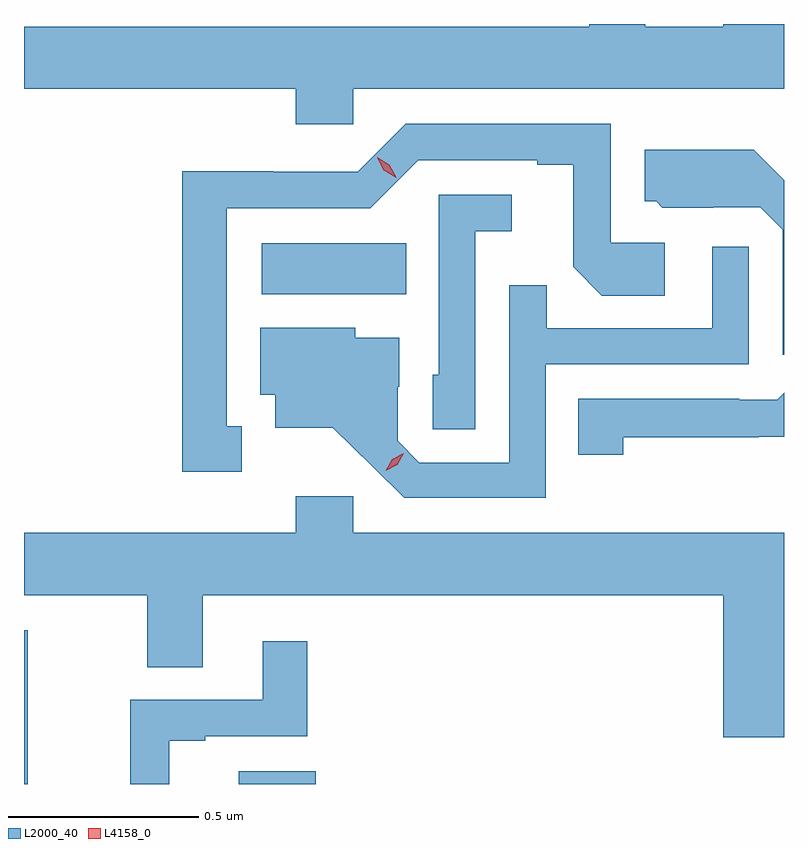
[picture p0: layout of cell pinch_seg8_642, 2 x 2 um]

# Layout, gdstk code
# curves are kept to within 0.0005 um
import gdstk
lib = gdstk.Library(unit=1e-6, precision=1e-09)
def R(c, l, rs):  # rectangles x0, y0, x1, y1
    for r in rs: c.add(gdstk.rectangle(r[:2], r[2:], *l))
def P(c, l, *ps):  # polygons
    for p in ps: c.add(gdstk.Polygon(p, *l))
L2000_40 = (2000, 40)
L4158_0 = (4158, 0)

pinch_seg8_642 = lib.new_cell('pinch_seg8_642')
R(pinch_seg8_642, L2000_40, [(199.132,1097.355,199.142,1097.76), (199.697,1097.355,199.9,1097.389), (199.758,1098.644,200.138,1098.778)])
P(pinch_seg8_642, L2000_40, [(199.998,1099.184),(201.132,1099.184),(201.132,1099.355),(200.972,1099.355),(200.972,1099.348),(200.767,1099.348),(200.767,1099.355),(200.62,1099.355),(200.62,1099.348),(199.132,1099.348),(199.132,1099.184),(199.847,1099.184),(199.847,1099.091),(199.998,1099.091)],
  [(199.705,1098.297),(199.666,1098.297),(199.666,1098.87),(200.043,1098.87),(200.169,1098.996),(200.483,1098.996),(200.483,1098.984),(200.577,1098.984),(200.577,1098.716),(200.653,1098.64),(200.818,1098.64),(200.818,1098.78),(200.676,1098.78),(200.676,1099.092),(200.136,1099.092),(200.01,1098.966),(199.788,1098.966),(199.788,1098.968),(199.548,1098.968),(199.548,1098.177),(199.705,1098.177)],
  [(201.132,1098.944),(201.053,1099.024),(200.765,1099.024),(200.765,1098.888),(200.796,1098.888),(200.812,1098.872),(200.946,1098.872),(200.946,1098.873),(201.069,1098.873),(201.129,1098.813),(201.129,1098.484),(201.132,1098.484)],
  [(200.319,1098.809),(200.416,1098.809),(200.416,1098.906),(200.223,1098.906),(200.223,1098.432),(200.208,1098.432),(200.208,1098.289),(200.319,1098.289)],
  [(200.505,1098.459),(201.039,1098.459),(201.039,1098.769),(200.943,1098.769),(200.943,1098.555),(200.507,1098.555),(200.507,1098.668),(200.409,1098.668),(200.409,1098.201),(200.172,1098.201),(200.115,1098.258),(200.115,1098.4),(200.119,1098.4),(200.119,1098.529),(200.004,1098.529),(200.004,1098.556),(199.754,1098.556),(199.754,1098.38),(199.793,1098.38),(199.793,1098.293),(199.945,1098.293),(200.132,1098.108),(200.505,1098.108)],
  [(200.709,1098.268),(201.065,1098.268),(201.065,1098.269),(201.132,1098.269),(201.132,1098.384),(201.114,1098.366),(201.014,1098.366),(201.014,1098.369),(200.59,1098.369),(200.59,1098.222),(200.709,1098.222)],
  [(201.132,1098.016),(199.998,1098.016),(199.998,1098.112),(199.847,1098.112),(199.847,1098.016),(199.132,1098.016),(199.132,1097.852),(199.456,1097.852),(199.456,1097.662),(199.603,1097.662),(199.603,1097.852),(200.972,1097.852),(200.972,1097.478),(201.132,1097.478)],
  [(199.514,1097.469),(199.609,1097.469),(199.609,1097.481),(199.877,1097.481),(199.877,1097.731),(199.76,1097.731),(199.76,1097.577),(199.411,1097.577),(199.411,1097.355),(199.514,1097.355)])
P(pinch_seg8_642, L4158_0, [(200.084,1098.18),(200.084,1098.18),(200.101,1098.21),(200.131,1098.225),(200.131,1098.225),(200.131,1098.225),(200.114,1098.195),(200.084,1098.18)],
  [(200.111,1098.951),(200.079,1098.97),(200.061,1099.003),(200.061,1099.004),(200.062,1099.004),(200.093,1098.984),(200.111,1098.952),(200.111,1098.951)])

lib.write_gds('pinch_seg8_642.gds')
